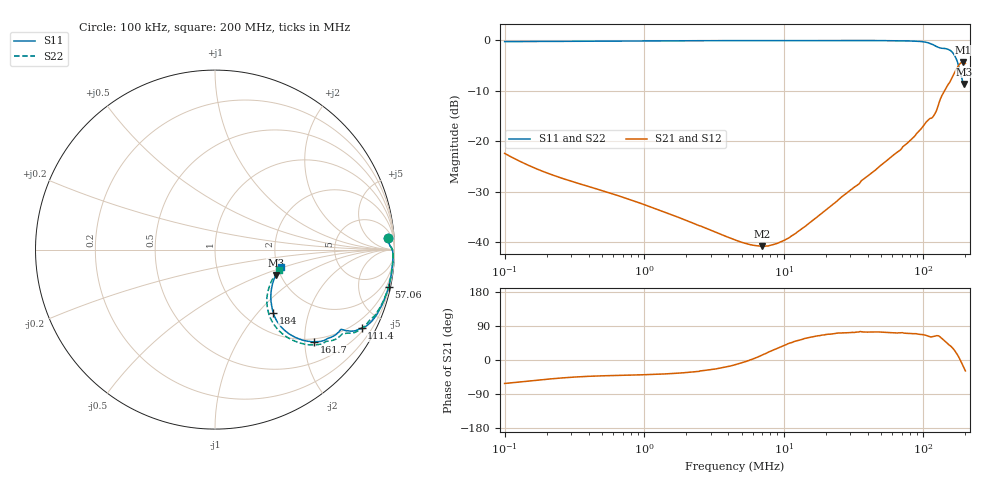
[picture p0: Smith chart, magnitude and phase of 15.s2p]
#  HZ  S  RI  R  50.00
! Rohde & Schwarz Vector Network Analyzer
! Rohde-Schwarz,ZNLE6-2Port,1323001256200024,1.71.1.10-23.02.1.238
! Created: UTC 4/7/2025, 8:13:27 AM
! freq[Hz]  re:S11  im:S11  re:S21  im:S21  re:S12  im:S12  re:S22  im:S22
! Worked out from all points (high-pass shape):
!   1001 points, 100 kHz to 200 MHz, reference 50 ohm
!   highest |S21| = -4.34 dB at 192.5 MHz (marker M1); lowest = -40.8 dB at 7.003 MHz (marker M2)
!   |S21| within 3 dB of the highest: 160.8 MHz to end of sweep
!   lowest |S11| = -8.7 dB at 197 MHz (marker M3), VSWR 2.16, Z = 94.4 - j31.3 ohm
!   |S11| at or under -10 dB: nowhere
!   |S22| runs from -8.9 to -0.1 dB; largest |S21 - S12| = 0.015
!   S11 on the Smith chart (normalised r, x): 100 kHz: 11, +24; 57.06 MHz: 0.48, -9.44; 111.4 MHz: 0.63, -3.89; 161.7 MHz: 0.93, -2.22; 184 MHz: 1.33, -1.21; 200 MHz: 2.09, -0.48
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100000  0.9647 0.0663  0.0357 -0.0669  0.0358 -0.0671  0.9647 0.0664
180917.4  0.9689 0.04  0.0313 -0.0407  0.0314 -0.0408  0.969 0.0402
355854.1  0.9732 0.025  0.0269 -0.026  0.027 -0.026  0.9734 0.025
1266322  0.9834 0.00954  0.0166 -0.0128  0.0167 -0.0128  0.9835 0.0093
4472136  0.9896 -0.00884  0.0103 -0.00232  0.0103 -0.00246  0.9906 -0.00833
7002865  0.9909 -0.0195  0.00892 0.00207  0.00896 0.00189  0.9913 -0.02
1.024064e7  0.9914 -0.0321  0.00816 0.00676  0.00823 0.00666  0.9919 -0.0338
1.591428e7  0.9912 -0.0535  0.00793 0.0142  0.00808 0.0141  0.9916 -0.0558
3.589196e7  0.9834 -0.1262  0.0107 0.0391  0.0119 0.0386  0.983 -0.1303
5.663162e7  0.9681 -0.2051  0.0199 0.0639  0.0217 0.0629  0.9655 -0.2123
5.706372e7  0.9676 -0.2068  0.0201 0.0644  0.022 0.0634  0.965 -0.2141
9.072414e7  0.9104 -0.3456  0.0443 0.1133  0.0489 0.1117  0.896 -0.36
1.113911e8  0.8169 -0.437  0.0804 0.1473  0.0846 0.1457  0.821 -0.4362
1.20188e8  0.7615 -0.4542  0.0839 0.164  0.0863 0.1614  0.7753 -0.4629
1.296795e8  0.7139 -0.4472  0.1102 0.2153  0.1127 0.2128  0.7291 -0.4666
1.464495e8  0.6681 -0.4772  0.2376 0.2469  0.24 0.2422  0.6626 -0.5033
1.616595e8  0.5539 -0.5136  0.3696 0.2307  0.371 0.2168  0.5409 -0.5312
1.731053e8  0.4258 -0.4773  0.4982 0.1548  0.4968 0.1427  0.4047 -0.4899
1.83958e8  0.3242 -0.3514  0.5901 -0.00411  0.5889 -0.0168  0.2999 -0.3587
1.925417e8  0.3151 -0.2158  0.5837 -0.1651  0.5812 -0.1759  0.2988 -0.218
1.969826e8  0.3383 -0.1434  0.5487 -0.2402  0.5482 -0.2499  0.328 -0.1529
2e8  0.3682 -0.0983  0.5168 -0.2834  0.5172 -0.2933  0.3561 -0.1153
